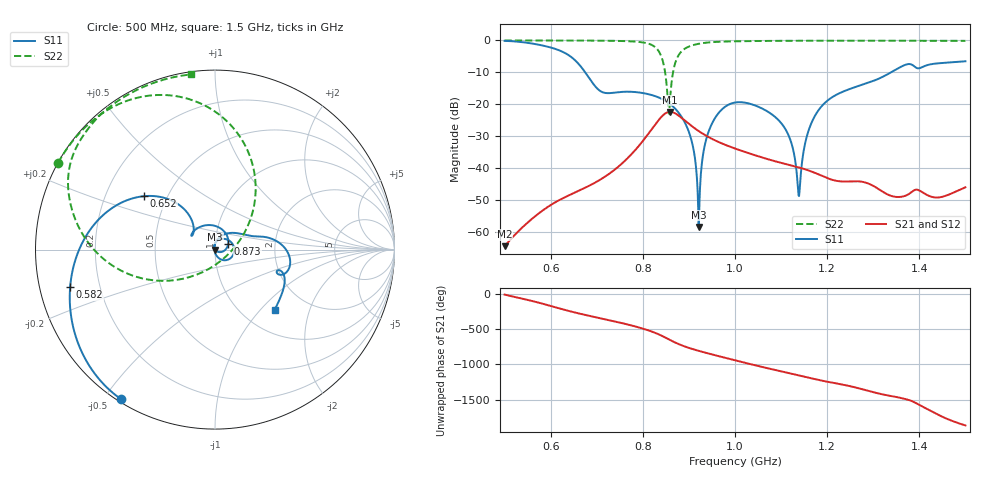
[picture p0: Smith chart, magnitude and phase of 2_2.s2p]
! TOUCHSTONE file generated by CST MICROWAVE STUDIO
! Date and time: Wed Oct 28 19:33:37 2020
! Project name: Scenario_1_Circular_Tissue_out_of_Line_v2.cst
! Parameters = {dy1=-328.7; L_HA=400; MT=2.54; Rad_Dielectric=30; Rad_Lower=7.3; Rad_Upper=30; a_HA=580; a_WG=246; b_HA=500; b_WG=121; c_HA=0; c_WG=187; d_feed=85; dx1=346; h_feed=15; h_lower=18; h_upper=40}
! Header version: 2018
! Port assignment regex: !\s*Touchstone port\s*([0-9]+)\s*=\s*(CST MWS port|CST DS port)\s*([0-9]+|Zmin|Zmax)\s*\(\"(.*)\"\)(\s*mode\s*([0-9]+))?.*
! Touchstone port assignment:
! Touchstone port 1 = CST MWS port 1 ("")
! Touchstone port 2 = CST MWS port 2 ("")
# GHz S DB R 50
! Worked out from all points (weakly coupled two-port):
!   1003 points, 500 MHz to 1.5 GHz, reference 50 ohm
!   highest |S21| = -22.39 dB at 859 MHz (marker M1); lowest = -64.5 dB at 500 MHz (marker M2)
!   lowest |S11| = -58.5 dB at 921 MHz (marker M3), VSWR 1.00, Z = 50.1 + j0.00942 ohm
!   |S11| at or under -10 dB: 674.9 MHz to 1.339 GHz (663.8 MHz wide, 65.9 % of centre)
!   |S22| runs from -23.0 to 0.0 dB; largest |S21 - S12| = 1.5e-06
!   S11 on the Smith chart (normalised r, x): 500 MHz: 0.01, -0.55; 582 MHz: 0.09, -0.13; 652 MHz: 0.37, +0.29; 873 MHz: 1.16, +0.08; 1.5 GHz: 1.40, -1.20
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0.5  -0.14 -122.3  -64.52 -13.8  -64.52 -13.8  -0.01 151.1
0.582  -1.58 -165.5  -53.39 -142.2  -53.39 -142.2  -0.02 145.5
0.652  -6.10 143.1  -47.75 93.9  -47.75 93.9  -0.03 139.8
0.667  -8.48 132.3  -46.75 70.6  -46.75 70.6  -0.04 138.3
0.711  -16.14 139.8  -43.35 7.3  -43.35 7.3  -0.08 133.5
0.781  -16.16 133.9  -34.79 -99.4  -34.79 -99.4  -0.35 120.0
0.834  -17.86 83.6  -25.02 146.0  -25.02 146.0  -3.28 81.5
0.847  -18.78 65.7  -23.07 105.9  -23.07 105.9  -8.85 51.7
0.859  -19.94 47.3  -22.39 65.3  -22.39 65.3  -18.87 -108.2
0.873  -21.84 24.1  -23.11 20.8  -23.11 20.8  -5.98 -164.4
0.905  -31.03 -29.7  -26.73 -56.7  -26.73 -56.7  -1.64 164.4
0.921  -58.50 4.5  -28.40 -87.5  -28.40 -87.5  -1.05 157.4
0.933  -33.84 100.2  -29.51 -109.1  -29.51 -109.1  -0.78 153.4
0.946  -27.36 82.0  -30.56 -131.5  -30.56 -131.5  -0.59 149.9
1  -19.48 7.8  -33.89 138.8  -33.89 138.8  -0.28 140.1
1.101  -26.06 -67.4  -38.43 -18.2  -38.43 -18.2  -0.12 129.6
1.123  -32.47 -83.7  -39.24 -50.8  -39.24 -50.8  -0.11 127.7
1.138  -48.63 -158.7  -39.81 -73.2  -39.81 -73.2  -0.10 126.5
1.167  -25.52 78.7  -41.16 -117.0  -41.16 -117.0  -0.10 124.1
1.212  -17.70 45.7  -43.76 -177.9  -43.76 -177.9  -0.09 120.7
1.334  -10.38 12.7  -48.49 0.3  -48.49 0.3  -0.09 111.4
1.5  -6.53 -45.1  -46.05 -60.3  -46.05 -60.3  -0.13 97.8
